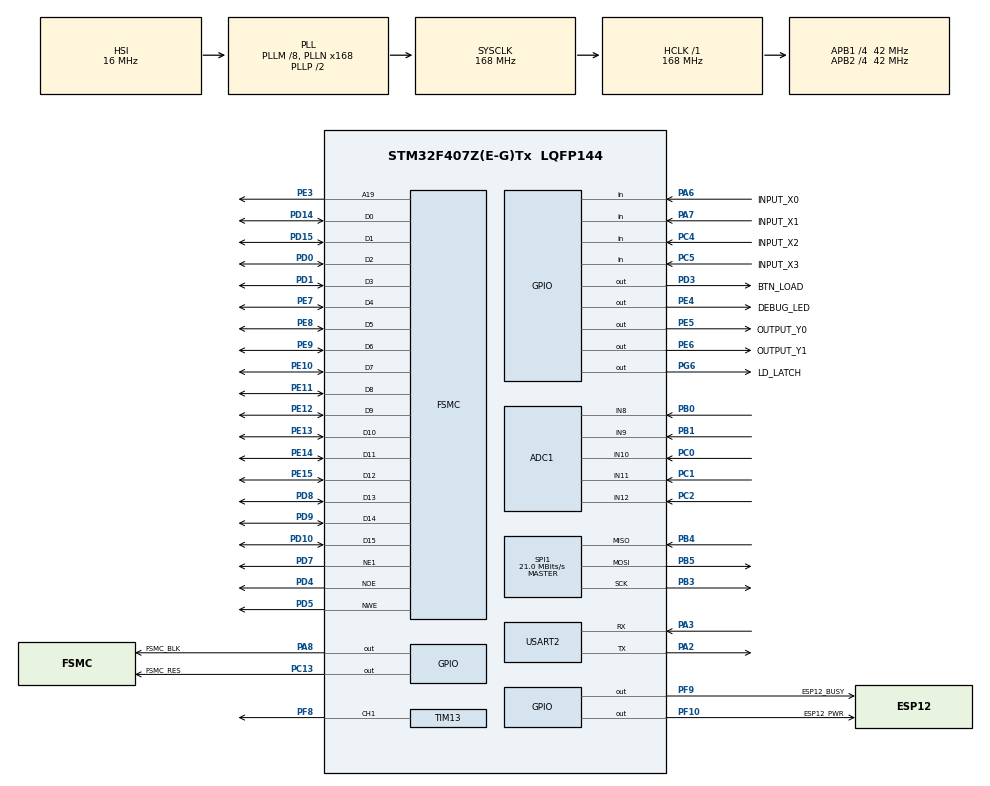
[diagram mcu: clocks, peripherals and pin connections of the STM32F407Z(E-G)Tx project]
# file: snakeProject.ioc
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ADC1.Channel-0\#ChannelRegularConversion=ADC_CHANNEL_8
ADC1.Channel-1\#ChannelRegularConversion=ADC_CHANNEL_9
ADC1.Channel-2\#ChannelRegularConversion=ADC_CHANNEL_10
ADC1.Channel-3\#ChannelRegularConversion=ADC_CHANNEL_11
ADC1.Channel-4\#ChannelRegularConversion=ADC_CHANNEL_12
ADC1.NbrOfConversion=5
ADC1.NbrOfConversionFlag=1
ADC1.Rank-0\#ChannelRegularConversion=1
ADC1.Rank-1\#ChannelRegularConversion=2
ADC1.Rank-2\#ChannelRegularConversion=3
ADC1.Rank-3\#ChannelRegularConversion=4
ADC1.Rank-4\#ChannelRegularConversion=5
ADC1.SamplingTime-0\#ChannelRegularConversion=ADC_SAMPLETIME_3CYCLES
ADC1.SamplingTime-1\#ChannelRegularConversion=ADC_SAMPLETIME_3CYCLES
ADC1.SamplingTime-2\#ChannelRegularConversion=ADC_SAMPLETIME_3CYCLES
ADC1.SamplingTime-3\#ChannelRegularConversion=ADC_SAMPLETIME_3CYCLES
ADC1.SamplingTime-4\#ChannelRegularConversion=ADC_SAMPLETIME_3CYCLES
ADC1.ScanConvMode=ENABLE
ADC1.master=1
Dma.ADC1.0.Direction=DMA_PERIPH_TO_MEMORY
Dma.ADC1.0.FIFOMode=DMA_FIFOMODE_DISABLE
Dma.ADC1.0.Instance=DMA2_Stream0
Dma.ADC1.0.MemDataAlignment=DMA_MDATAALIGN_HALFWORD
Dma.ADC1.0.MemInc=DMA_MINC_ENABLE
Dma.ADC1.0.Mode=DMA_CIRCULAR
Dma.ADC1.0.PeriphDataAlignment=DMA_PDATAALIGN_HALFWORD
Dma.ADC1.0.PeriphInc=DMA_PINC_DISABLE
Dma.ADC1.0.Priority=DMA_PRIORITY_LOW
Dma.Request0=ADC1
FSMC.AddressSetupTime1=0xf
FSMC.BusTurnAroundDuration1=0
FSMC.DataSetupTime1=60
FSMC.ExtendedAddressSetupTime1=8
FSMC.ExtendedBusTurnAroundDuration1=0
FSMC.ExtendedDataSetupTime1=9
FSMC.ExtendedMode1=FSMC_EXTENDED_MODE_ENABLE
Mcu.Family=STM32F4
Mcu.Name=STM32F407Z(E-G)Tx
Mcu.Package=LQFP144
NVIC.DMA2_Stream0_IRQn=true\:0\:0\:false\:false\:true\:false\:true\:true
NVIC.PriorityGroup=NVIC_PRIORITYGROUP_4
NVIC.TIM2_IRQn=true\:0\:0\:false\:false\:true\:true\:true\:true
NVIC.USART2_IRQn=true\:0\:0\:false\:false\:true\:true\:true\:true
PA13.Mode=Serial_Wire
PA13.Signal=SYS_JTMS-SWDIO
PA14.Mode=Serial_Wire
PA14.Signal=SYS_JTCK-SWCLK
PA2.Mode=Asynchronous
PA2.Signal=USART2_TX
PA3.Mode=Asynchronous
PA3.Signal=USART2_RX
PA6.GPIO_Label=INPUT_X0
PA6.Signal=GPIO_Input
PA7.GPIO_Label=INPUT_X1
PA7.Signal=GPIO_Input
PA8.GPIO_Label=FSMC_BLK
PA8.Signal=GPIO_Output
PB0.Signal=ADCx_IN8
PB1.Signal=ADCx_IN9
PB3.Mode=Full_Duplex_Master
PB3.Signal=SPI1_SCK
PB4.Mode=Full_Duplex_Master
PB4.Signal=SPI1_MISO
PB5.Mode=Full_Duplex_Master
PB5.Signal=SPI1_MOSI
PC0.Signal=ADCx_IN10
PC1.Signal=ADCx_IN11
PC13-ANTI_TAMP.GPIO_Label=FSMC_RES
PC13-ANTI_TAMP.Signal=GPIO_Output
PC2.Signal=ADCx_IN12
PC4.GPIO_Label=INPUT_X2
PC4.Signal=GPIO_Input
PC5.GPIO_Label=INPUT_X3
PC5.Signal=GPIO_Input
PD0.Signal=FSMC_D2_DA2
PD1.Signal=FSMC_D3_DA3
PD10.Signal=FSMC_D15_DA15
PD14.Signal=FSMC_D0_DA0
PD15.Signal=FSMC_D1_DA1
PD3.GPIO_Label=BTN_LOAD
PD3.Signal=GPIO_Output
PD4.Signal=FSMC_NOE
PD5.Signal=FSMC_NWE
PD7.Mode=NorPsramChipSelect1_1
PD7.Signal=FSMC_NE1
PD8.Signal=FSMC_D13_DA13
PD9.Signal=FSMC_D14_DA14
PE10.Signal=FSMC_D7_DA7
PE11.Signal=FSMC_D8_DA8
PE12.Signal=FSMC_D9_DA9
PE13.Signal=FSMC_D10_DA10
PE14.Signal=FSMC_D11_DA11
PE15.Signal=FSMC_D12_DA12
PE3.Signal=FSMC_A19
PE4.GPIO_Label=DEBUG_LED
PE4.Signal=GPIO_Output
PE5.GPIO_Label=OUTPUT_Y0
PE5.Signal=GPIO_Output
PE6.GPIO_Label=OUTPUT_Y1
PE6.Signal=GPIO_Output
PE7.Signal=FSMC_D4_DA4
PE8.Signal=FSMC_D5_DA5
PE9.Signal=FSMC_D6_DA6
PF10.GPIO_Label=ESP12_PWR
PF10.Signal=GPIO_Output
PF8.Signal=S_TIM13_CH1
PF9.GPIO_Label=ESP12_BUSY
PF9.Signal=GPIO_Output
PG6.GPIO_Label=LD_LATCH
PG6.Signal=GPIO_Output
PH0-OSC_IN.Mode=HSE-External-Oscillator
PH0-OSC_IN.Signal=RCC_OSC_IN
PH1-OSC_OUT.Mode=HSE-External-Oscillator
PH1-OSC_OUT.Signal=RCC_OSC_OUT
ProjectManager.HeapSize=0x200
ProjectManager.StackSize=0x400
ProjectManager.TargetToolchain=STM32CubeIDE
RCC.48MHZClocksFreq_Value=84000000
RCC.AHBFreq_Value=168000000
RCC.APB1CLKDivider=RCC_HCLK_DIV4
RCC.APB1Freq_Value=42000000
RCC.APB1TimFreq_Value=84000000
RCC.APB2CLKDivider=RCC_HCLK_DIV4
RCC.APB2Freq_Value=42000000
RCC.APB2TimFreq_Value=84000000
RCC.CortexFreq_Value=168000000
RCC.HCLKFreq_Value=168000000
RCC.HSE_VALUE=8000000
RCC.HSI_VALUE=16000000
RCC.LSE_VALUE=32768
RCC.PLLM=8
RCC.PLLN=168
RCC.SYSCLKFreq_VALUE=168000000
RCC.SYSCLKSource=RCC_SYSCLKSOURCE_PLLCLK
RCC.VCOOutputFreq_Value=336000000
SH.ADCx_IN10.0=ADC1_IN10,IN10
SH.ADCx_IN11.0=ADC1_IN11,IN11
SH.ADCx_IN12.0=ADC1_IN12,IN12
SH.ADCx_IN8.0=ADC1_IN8,IN8
SH.ADCx_IN9.0=ADC1_IN9,IN9
SH.FSMC_A19.0=FSMC_A19,A19_1
SH.FSMC_D0_DA0.0=FSMC_D0,16b-d1
SH.FSMC_D10_DA10.0=FSMC_D10,16b-d1
SH.FSMC_D11_DA11.0=FSMC_D11,16b-d1
SH.FSMC_D12_DA12.0=FSMC_D12,16b-d1
SH.FSMC_D13_DA13.0=FSMC_D13,16b-d1
SH.FSMC_D14_DA14.0=FSMC_D14,16b-d1
SH.FSMC_D15_DA15.0=FSMC_D15,16b-d1
SH.FSMC_D1_DA1.0=FSMC_D1,16b-d1
SH.FSMC_D2_DA2.0=FSMC_D2,16b-d1
SH.FSMC_D3_DA3.0=FSMC_D3,16b-d1
SH.FSMC_D4_DA4.0=FSMC_D4,16b-d1
SH.FSMC_D5_DA5.0=FSMC_D5,16b-d1
SH.FSMC_D6_DA6.0=FSMC_D6,16b-d1
SH.FSMC_D7_DA7.0=FSMC_D7,16b-d1
SH.FSMC_D8_DA8.0=FSMC_D8,16b-d1
SH.FSMC_D9_DA9.0=FSMC_D9,16b-d1
SH.FSMC_NOE.0=FSMC_NOE,Lcd1
SH.FSMC_NWE.0=FSMC_NWE,Lcd1
SH.S_TIM13_CH1.0=TIM13_CH1,PWM Generation1 CH1
SPI1.BaudRatePrescaler=SPI_BAUDRATEPRESCALER_2
SPI1.CalculateBaudRate=21.0 MBits/s
SPI1.Direction=SPI_DIRECTION_2LINES
SPI1.Mode=SPI_MODE_MASTER
SPI1.VirtualType=VM_MASTER
TIM13.Channel=TIM_CHANNEL_1
TIM13.Period=100-1
TIM13.Prescaler=840-1
TIM2.Period=100-1
TIM2.Prescaler=840-1
USART2.VirtualMode=VM_ASYNC
VP_TIM13_VS_ClockSourceINT.Mode=Enable_Timer
VP_TIM2_VS_ClockSourceINT.Mode=Internal
board=custom

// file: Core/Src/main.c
/* USER CODE BEGIN Header */
/**
  ******************************************************************************
  * @file           : main.c
  * @brief          : Main program body
  ******************************************************************************
  * @attention
  *
  * <h2><center>&copy; Copyright (c) 2023 STMicroelectronics.
  * All rights reserved.</center></h2>
  *
  * This software component is licensed by ST under BSD 3-Clause license,
  * the "License"; You may not use this file except in compliance with the
  * License. You may obtain a copy of the License at:
  *                        opensource.org/licenses/BSD-3-Clause
  *
  ******************************************************************************
  */
/* USER CODE END Header */
#include "main.h"
#include "adc.h"
#include "dma.h"
#include "spi.h"
#include "tim.h"
#include "usart.h"
#include "gpio.h"
#include "fsmc.h"

/* USER CODE BEGIN Includes */
#include "software_timer.h"
#include "led_7seg.h"
#include "button.h"
#include "lcd.h"
#include "picture.h"
#include "snake.h"
#include "time.h"
#include "startGame.h"
#include "global.h"
#include "set_up_mode.h"
#include "game_over.h"
#include "stop_game.h"
#include "exitUI.h"
#include "uart.h"
#include "sensor.h"
#include "initUI.h"

/* USER CODE END Includes */

void SystemClock_Config(void);
/* USER CODE BEGIN PFP */
void system_init();
void test_LedDebug();
void test_LedY0();
void test_LedY1();
void test_7seg();
void test_button();
void test_lcd();

/* USER CODE END PFP */

int main(void)
{

  /* MCU Configuration--------------------------------------------------------*/

  /* Reset of all peripherals, Initializes the Flash interface and the Systick. */
  HAL_Init();

  /* Configure the system clock */
  SystemClock_Config();

  /* Initialize all configured peripherals */
  MX_GPIO_Init();
  MX_DMA_Init();
  MX_TIM2_Init();
  MX_SPI1_Init();
  MX_FSMC_Init();
  MX_USART2_UART_Init();
  MX_ADC1_Init();
  MX_TIM13_Init();
  /* USER CODE BEGIN 2 */
  system_init();
  lcd_Clear(BLACK);
//  test_lcd();
  runInit();
  /* USER CODE END 2 */

  /* Infinite loop */
  /* USER CODE BEGIN WHILE */
//  snakeInit();
//  lcd_Fill(0,  0, 240,  70, RED);
//  lcd_Fill(235, 0, 240, 320, RED);
  while (1)
  {

    // lcd_Clear(WHITE);
	   if (flagForButton)
	   {
		   flagForButton= 0;
		   button_Scan();
//		   test_Esp();
//		  lightProcess();
		   beginStartGame();
	   }
	   if(statusGame == NORMALMODE || statusGame == TIMINGMODE || statusGame == ADVANCEMODE)
	   {
		   generateFruit();
		   if(statusGame == ADVANCEMODE && flagForGenerateWall)
		   {
			   generateWall();
			   flagForGenerateWall = 0;
		   }
		   if (flagForSnakeRun)
		   {
			   flagForSnakeRun= 0;
			   snakeRun();
		   }
		   if(flagForUart == 1)
		   {
//			   uartSendPlay();
			   TOTALTIME = TOTALTIME + 1;
			   setTimerUart(1000);
		   }
	  }else{
		  setTimerUart(0);
		  flagForSnakeRun = 0;
	  }
	  if(statusGame == OVERMODE)
	  {
		  pickOver(OVERMESSAGE);
	  }
	  if(statusGame == STOPMODE)
	  {
		  pickStop();
	  }
	  if(statusGame == EXITMODE)
	  {
		  askToExit();
	  }
	  if(flagForTiming == 1)
	  {
		  flagForTiming = 0;
		  statusGame = OVERMODE;
		  initOverMode(1);
		  arrowMode = NORMALMODE;
	  }
	  if(flagForDeTime == 1)
	  {
		  TIMING--;
		  showTiming();
		  setTimerDeTime(1000);
	  }
	  if(flagForSendSensor == 1)
	  {
		  sensor_Read();
		  uartSendSensor();
		  setTimerSendSensor(10000);
	  }

    /* USER CODE END WHILE */

  }
}

void SystemClock_Config(void)
{
  RCC_OscInitTypeDef RCC_OscInitStruct = {0};
  RCC_ClkInitTypeDef RCC_ClkInitStruct = {0};

  /** Configure the main internal regulator output voltage
  */
  __HAL_RCC_PWR_CLK_ENABLE();
  __HAL_PWR_VOLTAGESCALING_CONFIG(PWR_REGULATOR_VOLTAGE_SCALE1);

  /** Initializes the RCC Oscillators according to the specified parameters
  * in the RCC_OscInitTypeDef structure.
  */
  RCC_OscInitStruct.OscillatorType = RCC_OSCILLATORTYPE_HSI;
  RCC_OscInitStruct.HSIState = RCC_HSI_ON;
  RCC_OscInitStruct.HSICalibrationValue = RCC_HSICALIBRATION_DEFAULT;
  RCC_OscInitStruct.PLL.PLLState = RCC_PLL_ON;
  RCC_OscInitStruct.PLL.PLLSource = RCC_PLLSOURCE_HSI;
  RCC_OscInitStruct.PLL.PLLM = 8;
  RCC_OscInitStruct.PLL.PLLN = 168;
  RCC_OscInitStruct.PLL.PLLP = RCC_PLLP_DIV2;
  RCC_OscInitStruct.PLL.PLLQ = 4;
  if (HAL_RCC_OscConfig(&RCC_OscInitStruct) != HAL_OK)
  {
    Error_Handler();
  }

  /** Initializes the CPU, AHB and APB buses clocks
  */
  RCC_ClkInitStruct.ClockType = RCC_CLOCKTYPE_HCLK|RCC_CLOCKTYPE_SYSCLK
                              |RCC_CLOCKTYPE_PCLK1|RCC_CLOCKTYPE_PCLK2;
  RCC_ClkInitStruct.SYSCLKSource = RCC_SYSCLKSOURCE_PLLCLK;
  RCC_ClkInitStruct.AHBCLKDivider = RCC_SYSCLK_DIV1;
  RCC_ClkInitStruct.APB1CLKDivider = RCC_HCLK_DIV4;
  RCC_ClkInitStruct.APB2CLKDivider = RCC_HCLK_DIV4;

  if (HAL_RCC_ClockConfig(&RCC_ClkInitStruct, FLASH_LATENCY_5) != HAL_OK)
  {
    Error_Handler();
  }
}

/* USER CODE BEGIN 4 */
void system_init(){
	  HAL_GPIO_WritePin(OUTPUT_Y0_GPIO_Port, OUTPUT_Y0_Pin, 0);
	  HAL_GPIO_WritePin(OUTPUT_Y1_GPIO_Port, OUTPUT_Y1_Pin, 0);
	  HAL_GPIO_WritePin(DEBUG_LED_GPIO_Port, DEBUG_LED_Pin, 0);
	  timer_init();
	  led7_init();
	  button_init();
	  lcd_init();
	  uart_init_esp();
	  sensor_init();
	  setTimerButton(50);
	  setTimerSnakeRun(250);
	  setTimerGenerateWall(4000);
	  setTimerSendSensor(10000);
}

uint8_t count_led_debug = 0;
uint8_t count_led_Y0 = 0;
uint8_t count_led_Y1 = 0;

void test_LedDebug(){
	count_led_debug = (count_led_debug + 1)%20;
	if(count_led_debug == 0){
		HAL_GPIO_TogglePin(DEBUG_LED_GPIO_Port, DEBUG_LED_Pin);
	}
}

void test_LedY0(){
	count_led_Y0 = (count_led_Y0+ 1)%100;
	if(count_led_Y0 > 40){
		HAL_GPIO_WritePin(OUTPUT_Y0_GPIO_Port, OUTPUT_Y0_Pin, 1);
	} else {
		HAL_GPIO_WritePin(OUTPUT_Y0_GPIO_Port, OUTPUT_Y0_Pin, 0);
	}
}

void test_LedY1(){
	count_led_Y1 = (count_led_Y1+ 1)%40;
	if(count_led_Y1 > 10){
		HAL_GPIO_WritePin(OUTPUT_Y1_GPIO_Port, OUTPUT_Y1_Pin, 0);
	} else {
		HAL_GPIO_WritePin(OUTPUT_Y0_GPIO_Port, OUTPUT_Y1_Pin, 1);
	}
}

void test_7seg(){
	led7_SetDigit(0, 0, 0);
	led7_SetDigit(5, 1, 0);
	led7_SetDigit(4, 2, 0);
	led7_SetDigit(7, 3, 0);
}
void test_button(){
	for(int i = 0; i < 16; i++){
		if(button_count[i] == 1){
			lcd_ShowIntNum(140, 105, i, 2, BRED, WHITE, 32);
		}
	}
}
void test_lcd(){
	lcd_Fill(19, 19, 29, 29, BLUE);
	lcd_StrCenter(0, 100, "Hello World !!!", RED, BLUE, 16, 1);
//	lcd_ShowStr(20, 30, "Test lcd screen", WHITE, RED, 24, 0);
//	lcd_DrawCircle(60, 120, GREEN, 40, 1);
//	lcd_DrawCircle(160, 120, BRED, 40, 0);
//	lcd_ShowPicture(80, 200, 90, 90, gImage_logo);
}
/* USER CODE END 4 */

void Error_Handler(void)
{
  __disable_irq();
  while (1)
  {
  }
}
